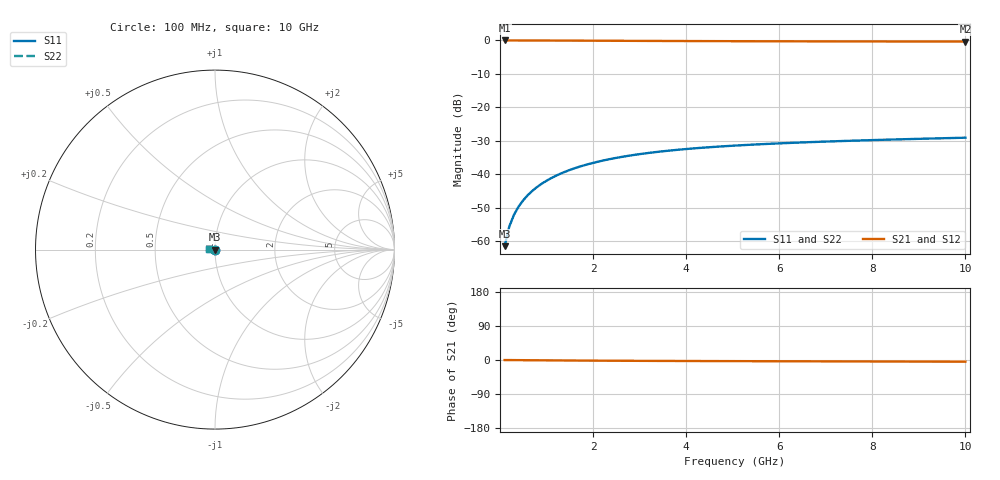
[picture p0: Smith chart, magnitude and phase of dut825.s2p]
! Touchstone file exported from HFSS 2024.1.0
!  File:  C:/UserFiles/LocalFiles/RDL_TSV_Batchsim/temp_TSV1_825_1779878684.aedt
!  Generated:  06:52:40 PM May 27, 2026
!  Design:  TSV1
!  Project:  temp_TSV1_825_1779878684
!  Setup:  Setup1
!  Solution:  Sweep
! Variables:
!  dtsv = 7.66um
!  hbump = 3um
!  htsv = 68.54um
!  lrdl = 252.1521522um
!  p = 40
!  p1 = 43.24um
!  t = 500um
!  trdl = 3um
!  wrdl = 24.89489489um
# GHz S MA R 50.000000
! Terminal data exported
! Port[1] = TSV22_T1
! Port[2] = TSV22_T2
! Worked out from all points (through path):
!   100 points, 100 MHz to 10 GHz, reference 50 ohm
!   highest |S21| = 0.00 dB at 100 MHz (marker M1); lowest = -0.3 dB at 10 GHz (marker M2)
!   lowest |S11| = -61.5 dB at 100 MHz (marker M3), VSWR 1.00, Z = 50 - j0.0816 ohm
!   |S11| at or under -10 dB: start of sweep to end of sweep
!   |S22| runs from -61.5 to -29.1 dB; largest |S21 - S12| = 7e-15
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0.1  0.00084 -76.1  0.9997 -0.1  0.9997 -0.1  0.00084 -76.1
! Gamma 0 0 0 0
! Port Impedance 50 0 50 0
0.2  0.00165 -85.4  0.9997 -0.2  0.9997 -0.2  0.00165 -85.4
0.3  0.002465 -89.8  0.9995 -0.3  0.9995 -0.3  0.002465 -89.8
0.4  0.003277 -92.9  0.9993 -0.4  0.9993 -0.4  0.003277 -92.9
0.5  0.004083 -95.4  0.9991 -0.5  0.9991 -0.5  0.004083 -95.4
0.6  0.004883 -97.6  0.9988 -0.6  0.9988 -0.6  0.004883 -97.6
0.7  0.005674 -99.7  0.9985 -0.7  0.9985 -0.7  0.005674 -99.7
0.8  0.006455 -101.7  0.9982 -0.7  0.9982 -0.7  0.006455 -101.7
0.9  0.007226 -103.6  0.9978 -0.8  0.9978 -0.8  0.007226 -103.6
1.1  0.008731 -107.2  0.9969 -1.0  0.9969 -1.0  0.008731 -107.2
1.4  0.01089 -112.3  0.9953 -1.2  0.9953 -1.2  0.01089 -112.3
1.6  0.01225 -115.6  0.9941 -1.4  0.9941 -1.4  0.01225 -115.6
1.8  0.01354 -118.7  0.9929 -1.5  0.9929 -1.5  0.01354 -118.7
2.1  0.01536 -123.1  0.991 -1.7  0.991 -1.7  0.01536 -123.1
2.5  0.01756 -128.7  0.9884 -2.0  0.9884 -2.0  0.01756 -128.7
2.9  0.01951 -133.9  0.9858 -2.2  0.9858 -2.2  0.01951 -133.9
3.4  0.02164 -139.8  0.9827 -2.4  0.9827 -2.4  0.02164 -139.8
4.2  0.02444 -148.2  0.9784 -2.7  0.9784 -2.7  0.02444 -148.2
5.1  0.02692 -156.3  0.9743 -3.0  0.9743 -3.0  0.02692 -156.3
6.7  0.03024 -168.2  0.969 -3.5  0.969 -3.5  0.03024 -168.2
8.4  0.03296 -178.3  0.9652 -4.0  0.9652 -4.0  0.03296 -178.3
10  0.03515 173.6  0.9627 -4.5  0.9627 -4.5  0.03515 173.6
